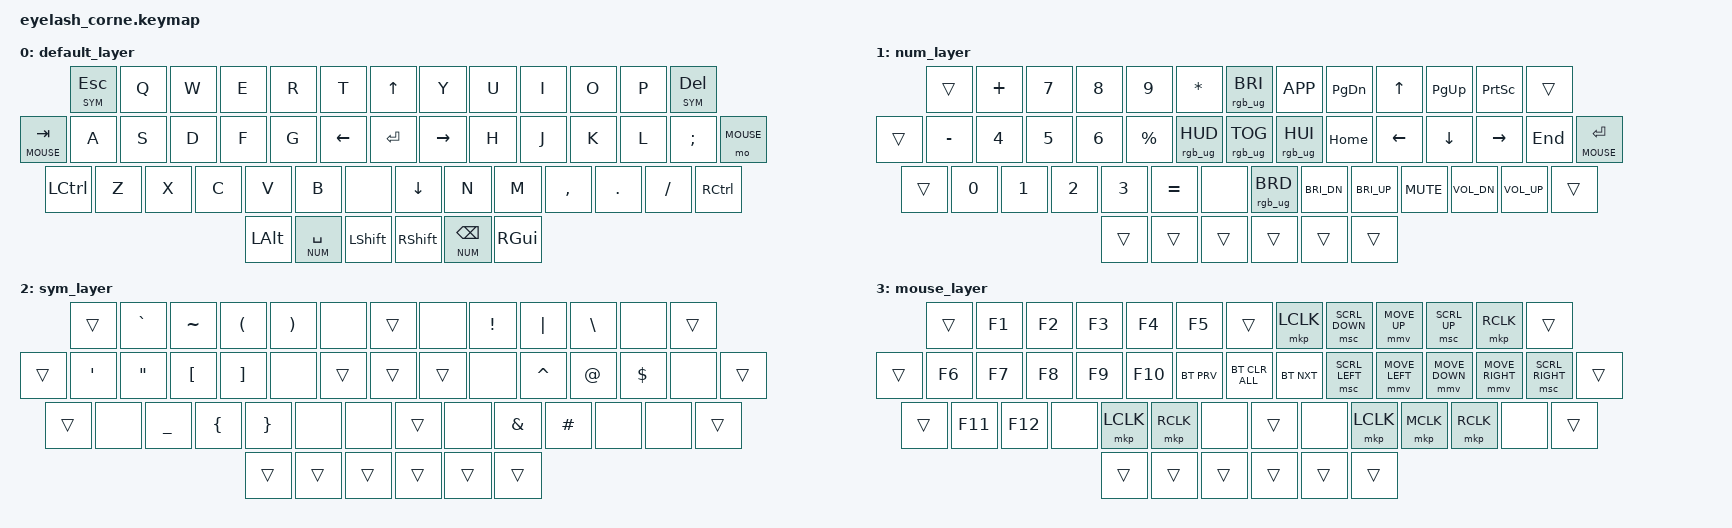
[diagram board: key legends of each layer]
/*
 * Copyright (c) 2020 The ZMK Contributors
 *
 * SPDX-License-Identifier: MIT
 */

#include <behaviors.dtsi>
#include <dt-bindings/zmk/keys.h>
#include <dt-bindings/zmk/bt.h>
#define ZMK_POINTING_DEFAULT_SCRL_VAL 200 
#define ZMK_POINTING_DEFAULT_MOVE_VAL 1500
#include <dt-bindings/zmk/pointing.h>
#include <dt-bindings/zmk/rgb.h>
 
#define DEFAULT 0
#define NUM   1
#define SYM   2
#define MOUSE  3

&mmv {
  time-to-max-speed-ms = <300>;  // default: 300 — ramp-up time
  acceleration-exponent = <1>;  // default: 1
};

&msc {
  time-to-max-speed-ms = <300>;  // default: 300
  acceleration-exponent = <1>;  // default: 0 — this is the key change
};

/ {
  keymap {
    compatible = "zmk,keymap";

    default_layer {
    bindings = <
&lt SYM ESC  &kp Q &kp W &kp E   &kp R   &kp T             &kp UP           &kp Y    &kp U   &kp I   &kp O  &kp P   &lt SYM DEL
&lt MOUSE TAB   &kp A &kp S &kp D   &kp F   &kp G      &kp LEFT   &kp ENTER   &kp RIGHT  &kp H    &kp J   &kp K   &kp L  &kp SEMI &mo MOUSE
&kp LCTRL    &kp Z &kp X &kp C   &kp V   &kp B  &none        &kp DOWN          &kp N    &kp M   &kp COMMA &kp DOT &kp FSLH &kp RCTRL
              &kp LALT &lt NUM SPACE &kp LSHFT                &kp RSHFT &lt NUM BSPC &kp RGUI
    >;
    };

    num_layer {
      bindings = <
&trans &kp PLUS  &kp N7 &kp N8 &kp N9 &kp ASTRK                 &rgb_ug RGB_BRI          &kp K_APP   &kp PG_DN &kp UP  &kp PG_UP &kp PSCRN &trans
&trans &kp MINUS &kp N4 &kp N5 &kp N6 &kp PRCNT         &rgb_ug RGB_HUD &rgb_ug RGB_TOG &rgb_ug RGB_HUI &kp HOME   &kp LEFT  &kp DOWN &kp RIGHT &kp END  &lt MOUSE RET
&trans &kp N0   &kp N1 &kp N2 &kp N3 &kp EQUAL &none             &rgb_ug RGB_BRD          &kp C_BRI_DN &kp C_BRI_UP &kp C_MUTE &kp C_VOL_DN &kp C_VOL_UP &trans
              &trans &trans &trans                                   &trans    &trans   &trans
      >;
    };

    sym_layer {
      bindings = <
&trans &kp GRAVE &kp TILDE &kp LPAR &kp RPAR &none                 &trans              &none &kp EXCL &kp PIPE &kp BSLH &none &trans
&trans &kp SQT  &kp DQT  &kp LBKT &kp RBKT &none         &trans     &trans     &trans      &none &kp CARET &kp AT  &kp DLLR &none &trans
&trans &none   &kp UNDER &kp LBRC &kp RBRC &none  &none             &trans              &none &kp AMPS &kp HASH &none   &none &trans
             &trans   &trans  &trans                                   &trans &trans  &trans
      >;
    };

    mouse_layer {
      bindings = <
&trans &kp F1  &kp F2  &kp F3 &kp F4 &kp F5               &trans           &mkp LCLK    &msc SCRL_DOWN &mmv MOVE_UP  &msc SCRL_UP  &mkp RCLK &trans
&trans &kp F6  &kp F7  &kp F8 &kp F9 &kp F10       &bt BT_PRV &bt BT_CLR_ALL &bt BT_NXT    &msc SCRL_LEFT &mmv MOVE_LEFT &mmv MOVE_DOWN &mmv MOVE_RIGHT &msc SCRL_RIGHT &trans
&trans &kp F11 &kp F12 &none  &mkp LCLK &mkp RCLK &none          &trans           &none      &mkp LCLK   &mkp MCLK   &mkp RCLK    &none &trans
             &trans &trans &trans                                      &trans     &trans     &trans
      >;
    };
  };
};
